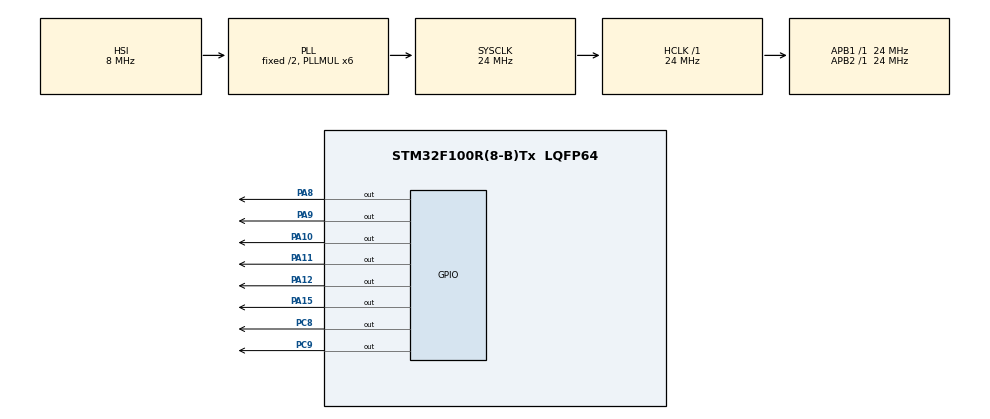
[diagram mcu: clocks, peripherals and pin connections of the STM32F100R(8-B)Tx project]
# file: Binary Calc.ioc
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Mcu.Family=STM32F1
Mcu.Name=STM32F100R(8-B)Tx
Mcu.Package=LQFP64
NVIC.PriorityGroup=NVIC_PRIORITYGROUP_4
PA10.Signal=GPIO_Output
PA11.Signal=GPIO_Output
PA12.Signal=GPIO_Output
PA13.Mode=Serial_Wire
PA13.Signal=SYS_JTMS-SWDIO
PA14.Mode=Serial_Wire
PA14.Signal=SYS_JTCK-SWCLK
PA15.Signal=GPIO_Output
PA8.Signal=GPIO_Output
PA9.Signal=GPIO_Output
PC8.Signal=GPIO_Output
PC9.Signal=GPIO_Output
ProjectManager.HeapSize=0x200
ProjectManager.StackSize=0x400
ProjectManager.TargetToolchain=STM32CubeIDE
RCC.AHBFreq_Value=24000000
RCC.APB1Freq_Value=24000000
RCC.APB1TimFreq_Value=24000000
RCC.APB2Freq_Value=24000000
RCC.APB2TimFreq_Value=24000000
RCC.HCLKFreq_Value=24000000
RCC.PLLMUL=RCC_PLL_MUL6
RCC.SYSCLKFreq_VALUE=24000000
RCC.SYSCLKSource=RCC_SYSCLKSOURCE_PLLCLK
board=custom

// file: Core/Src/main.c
/* USER CODE BEGIN Header */
/**
  ******************************************************************************
  * @file           : main.c
  * @brief          : Main program body
  ******************************************************************************
  * @attention
  *
  * Copyright (c) 2022 STMicroelectronics.
  * All rights reserved.
  *
  * This software is licensed under terms that can be found in the LICENSE file
  * in the root directory of this software component.
  * If no LICENSE file comes with this software, it is provided AS-IS.
  *
  ******************************************************************************
  */
/* USER CODE END Header */
#include "main.h"
#include "string.h"

/* USER CODE BEGIN Includes */
uint8_t ABC[2][2][2];
char A[] = "Good day";
char B[10];

uint8_t K, H;
uint32_t J;

/* USER CODE END Includes */

void SystemClock_Config(void);
static void MX_GPIO_Init(void);

/* USER CODE BEGIN 0 */
void DRV(uint8_t count)
{
  if(count &0x01)
  {
	  HAL_GPIO_WritePin(GPIOC,GPIO_PIN_8 , GPIO_PIN_SET);
  }
  else
  {
	  HAL_GPIO_WritePin(GPIOC,GPIO_PIN_8 , GPIO_PIN_RESET);
  }

  if(count &0x02)
    {
  	  HAL_GPIO_WritePin(GPIOC,GPIO_PIN_9 , GPIO_PIN_SET);
    }
    else
    {
  	  HAL_GPIO_WritePin(GPIOC,GPIO_PIN_9 , GPIO_PIN_RESET);
    }

  if(count &0x04)
    {
  	  HAL_GPIO_WritePin(GPIOA,GPIO_PIN_8 , GPIO_PIN_SET);
    }
    else
    {
  	  HAL_GPIO_WritePin(GPIOA,GPIO_PIN_8 , GPIO_PIN_RESET);
    }

  if(count &0x08)
    {
  	  HAL_GPIO_WritePin(GPIOA,GPIO_PIN_9 , GPIO_PIN_SET);
    }
    else
    {
  	  HAL_GPIO_WritePin(GPIOA,GPIO_PIN_9 , GPIO_PIN_RESET);
    }

  if(count &0x10)
    {
  	  HAL_GPIO_WritePin(GPIOA,GPIO_PIN_10 , GPIO_PIN_SET);
    }
    else
    {
  	  HAL_GPIO_WritePin(GPIOA,GPIO_PIN_10 , GPIO_PIN_RESET);
    }

  if(count &0x20)
    {
  	  HAL_GPIO_WritePin(GPIOA,GPIO_PIN_11 , GPIO_PIN_SET);
    }
    else
    {
  	  HAL_GPIO_WritePin(GPIOA,GPIO_PIN_11 , GPIO_PIN_RESET);
    }

  if(count &0x40)
    {
  	  HAL_GPIO_WritePin(GPIOA,GPIO_PIN_12 , GPIO_PIN_SET);
    }
    else
    {
  	  HAL_GPIO_WritePin(GPIOA,GPIO_PIN_12 , GPIO_PIN_RESET);
    }

  if(count &0x80)
    {
  	  HAL_GPIO_WritePin(GPIOA,GPIO_PIN_15 , GPIO_PIN_SET);
    }
    else
    {
  	  HAL_GPIO_WritePin(GPIOA,GPIO_PIN_15 , GPIO_PIN_RESET);
    }
}
/* USER CODE END 0 */

int main(void)
{

  /* MCU Configuration--------------------------------------------------------*/

  /* Reset of all peripherals, Initializes the Flash interface and the Systick. */
  HAL_Init();

  /* Configure the system clock */
  SystemClock_Config();

  /* Initialize all configured peripherals */
  MX_GPIO_Init();
  /* USER CODE BEGIN 2 */
  //B = sizeof(uintmax_t);

 // count = 1 << 3;
  uint8_t count_local = 0;

 // A[0] = 'G';
 // A[1] = 'o';

  strcpy(B,A);
  count_local = strlen(B);

K = 255;
H = 254;

J = 2;
J = J << 1;

//J = 1 << 30;
J = J + H;
  //ABC[1][0][0][0] = 255;
  /* USER CODE END 2 */

  /* Infinite loop */
  /* USER CODE BEGIN WHILE */
  while (1)
  {

  HAL_Delay(50);

  DRV(ABC[0]);

  if(ABC[0] < 0b11111111)
  {
	  ABC[0] ++;
	  ABC[1] --;
  }
  else
  {
	  ABC[0] = 0;
	  ABC[1] = 0;
  }

  //HAL_GPIO_WritePin(GPIOx, GPIO_Pin, PinState)

  //GPIOC->BSRR =

    /* USER CODE END WHILE */

  }
}

void SystemClock_Config(void)
{
  RCC_OscInitTypeDef RCC_OscInitStruct = {0};
  RCC_ClkInitTypeDef RCC_ClkInitStruct = {0};

  /** Initializes the RCC Oscillators according to the specified parameters
  * in the RCC_OscInitTypeDef structure.
  */
  RCC_OscInitStruct.OscillatorType = RCC_OSCILLATORTYPE_HSI;
  RCC_OscInitStruct.HSIState = RCC_HSI_ON;
  RCC_OscInitStruct.HSICalibrationValue = RCC_HSICALIBRATION_DEFAULT;
  RCC_OscInitStruct.PLL.PLLState = RCC_PLL_ON;
  RCC_OscInitStruct.PLL.PLLSource = RCC_PLLSOURCE_HSI_DIV2;
  RCC_OscInitStruct.PLL.PLLMUL = RCC_PLL_MUL6;
  if (HAL_RCC_OscConfig(&RCC_OscInitStruct) != HAL_OK)
  {
    Error_Handler();
  }

  /** Initializes the CPU, AHB and APB buses clocks
  */
  RCC_ClkInitStruct.ClockType = RCC_CLOCKTYPE_HCLK|RCC_CLOCKTYPE_SYSCLK
                              |RCC_CLOCKTYPE_PCLK1|RCC_CLOCKTYPE_PCLK2;
  RCC_ClkInitStruct.SYSCLKSource = RCC_SYSCLKSOURCE_PLLCLK;
  RCC_ClkInitStruct.AHBCLKDivider = RCC_SYSCLK_DIV1;
  RCC_ClkInitStruct.APB1CLKDivider = RCC_HCLK_DIV1;
  RCC_ClkInitStruct.APB2CLKDivider = RCC_HCLK_DIV1;

  if (HAL_RCC_ClockConfig(&RCC_ClkInitStruct, FLASH_LATENCY_0) != HAL_OK)
  {
    Error_Handler();
  }
}

static void MX_GPIO_Init(void)
{
  GPIO_InitTypeDef GPIO_InitStruct = {0};

  /* GPIO Ports Clock Enable */
  __HAL_RCC_GPIOC_CLK_ENABLE();
  __HAL_RCC_GPIOA_CLK_ENABLE();

  /*Configure GPIO pin Output Level */
  HAL_GPIO_WritePin(GPIOC, GPIO_PIN_8|GPIO_PIN_9, GPIO_PIN_RESET);

  /*Configure GPIO pin Output Level */
  HAL_GPIO_WritePin(GPIOA, GPIO_PIN_8|GPIO_PIN_9|GPIO_PIN_10|GPIO_PIN_11
                          |GPIO_PIN_12|GPIO_PIN_15, GPIO_PIN_RESET);

  /*Configure GPIO pins : PC8 PC9 */
  GPIO_InitStruct.Pin = GPIO_PIN_8|GPIO_PIN_9;
  GPIO_InitStruct.Mode = GPIO_MODE_OUTPUT_PP;
  GPIO_InitStruct.Pull = GPIO_NOPULL;
  GPIO_InitStruct.Speed = GPIO_SPEED_FREQ_LOW;
  HAL_GPIO_Init(GPIOC, &GPIO_InitStruct);

  /*Configure GPIO pins : PA8 PA9 PA10 PA11
                           PA12 PA15 */
  GPIO_InitStruct.Pin = GPIO_PIN_8|GPIO_PIN_9|GPIO_PIN_10|GPIO_PIN_11
                          |GPIO_PIN_12|GPIO_PIN_15;
  GPIO_InitStruct.Mode = GPIO_MODE_OUTPUT_PP;
  GPIO_InitStruct.Pull = GPIO_NOPULL;
  GPIO_InitStruct.Speed = GPIO_SPEED_FREQ_LOW;
  HAL_GPIO_Init(GPIOA, &GPIO_InitStruct);

}

void Error_Handler(void)
{
  __disable_irq();
  while (1)
  {
  }
}
